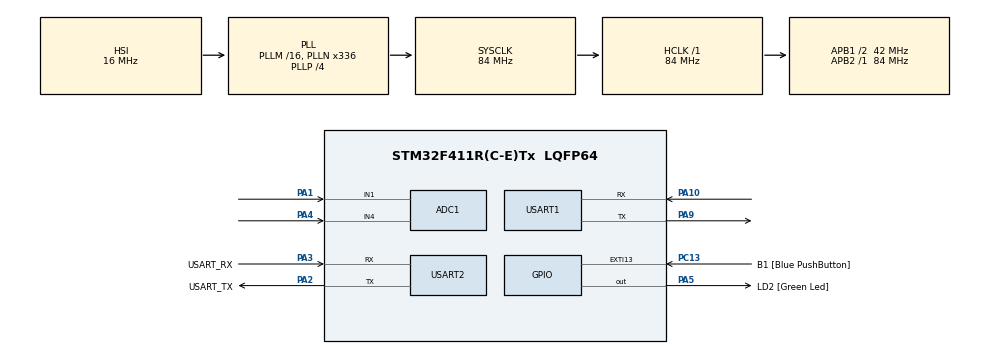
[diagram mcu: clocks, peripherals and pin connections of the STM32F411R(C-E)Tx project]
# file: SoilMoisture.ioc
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ADC1.Channel-5\#ChannelRegularConversion=ADC_CHANNEL_1
ADC1.NbrOfConversionFlag=1
ADC1.Rank-5\#ChannelRegularConversion=1
ADC1.SamplingTime-5\#ChannelRegularConversion=ADC_SAMPLETIME_3CYCLES
ADC1.master=1
Mcu.Family=STM32F4
Mcu.Name=STM32F411R(C-E)Tx
Mcu.Package=LQFP64
NVIC.PriorityGroup=NVIC_PRIORITYGROUP_0
PA1.Signal=ADCx_IN1
PA10.Mode=Asynchronous
PA10.Signal=USART1_RX
PA13.GPIO_Label=TMS
PA13.Mode=Serial_Wire
PA13.Signal=SYS_JTMS-SWDIO
PA14.GPIO_Label=TCK
PA14.Mode=Serial_Wire
PA14.Signal=SYS_JTCK-SWCLK
PA2.GPIO_Label=USART_TX
PA2.Mode=Asynchronous
PA2.Signal=USART2_TX
PA3.GPIO_Label=USART_RX
PA3.Mode=Asynchronous
PA3.Signal=USART2_RX
PA4.Signal=ADCx_IN4
PA5.GPIO_Label=LD2 [Green Led]
PA5.Signal=GPIO_Output
PA9.Mode=Asynchronous
PA9.Signal=USART1_TX
PB3.GPIO_Label=SWO
PB3.Signal=SYS_JTDO-SWO
PC13-ANTI_TAMP.GPIO_Label=B1 [Blue PushButton]
PC13-ANTI_TAMP.GPIO_ModeDefaultEXTI=GPIO_MODE_IT_FALLING
PC13-ANTI_TAMP.Signal=GPXTI13
PC14-OSC32_IN.Mode=LSE-External-Oscillator
PC14-OSC32_IN.Signal=RCC_OSC32_IN
PC15-OSC32_OUT.Mode=LSE-External-Oscillator
PC15-OSC32_OUT.Signal=RCC_OSC32_OUT
PH0\ -\ OSC_IN.Mode=HSE-External-Clock-Source
PH0\ -\ OSC_IN.Signal=RCC_OSC_IN
PH1\ -\ OSC_OUT.Mode=HSE-External-Clock-Source
PH1\ -\ OSC_OUT.Signal=RCC_OSC_OUT
ProjectManager.HeapSize=0x200
ProjectManager.StackSize=0x400
ProjectManager.TargetToolchain=STM32CubeIDE
RCC.48MHZClocksFreq_Value=84000000
RCC.AHBFreq_Value=84000000
RCC.APB1CLKDivider=RCC_HCLK_DIV2
RCC.APB1Freq_Value=42000000
RCC.APB1TimFreq_Value=84000000
RCC.APB2Freq_Value=84000000
RCC.APB2TimFreq_Value=84000000
RCC.CortexFreq_Value=84000000
RCC.FLatency-AdvancedSettings=FLASH_LATENCY_2
RCC.HCLKFreq_Value=84000000
RCC.HSE_VALUE=8000000
RCC.HSI_VALUE=16000000
RCC.PLLN=336
RCC.PLLP=RCC_PLLP_DIV4
RCC.SYSCLKFreq_VALUE=84000000
RCC.SYSCLKSource=RCC_SYSCLKSOURCE_PLLCLK
RCC.VCOOutputFreq_Value=336000000
SH.ADCx_IN1.0=ADC1_IN1,IN1
SH.ADCx_IN4.0=ADC1_IN4,IN4
TIM1.Prescaler=84-1
USART1.VirtualMode=VM_ASYNC
USART2.VirtualMode=VM_ASYNC
VP_TIM1_VS_ClockSourceINT.Mode=Internal
board=NUCLEO-F411RE

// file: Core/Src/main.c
/* USER CODE BEGIN Header */
/**
  ******************************************************************************
  * @file           : main.c
  * @brief          : Main program body
  ******************************************************************************
  * @attention
  *
  * Copyright (c) 2022 STMicroelectronics.
  * All rights reserved.
  *
  * This software is licensed under terms that can be found in the LICENSE file
  * in the root directory of this software component.
  * If no LICENSE file comes with this software, it is provided AS-IS.
  *
  ******************************************************************************
  */
/* USER CODE END Header */
#include "main.h"

ADC_HandleTypeDef hadc1;

TIM_HandleTypeDef htim1;

UART_HandleTypeDef huart1;
UART_HandleTypeDef huart2;

void SystemClock_Config(void);
static void MX_GPIO_Init(void);
static void MX_USART2_UART_Init(void);
static void MX_ADC1_Init(void);
static void MX_TIM1_Init(void);
static void MX_USART1_UART_Init(void);

/* USER CODE BEGIN 0 */
uint8_t h_byte1, h_byte2, t_byte1, t_byte2;
uint16_t sum,h,t;
float temp;
float humid;
uint8_t pres = 0;
#define DHT11_PORT GPIOA
#define DHT11_PIN GPIO_PIN_0

void delay(uint16_t time){
	__HAL_TIM_SET_COUNTER(&htim1,0);
	while(__HAL_TIM_GET_COUNTER(&htim1) < time);
}

void Set_Pin_Output(GPIO_TypeDef *GPIOx, uint16_t GPIO_Pin){
	GPIO_InitTypeDef GPIO_InitStruct = {0};
	GPIO_InitStruct.Pin = GPIO_Pin;
	GPIO_InitStruct.Mode = GPIO_MODE_OUTPUT_PP;
	GPIO_InitStruct.Speed = GPIO_SPEED_FREQ_LOW;
	HAL_GPIO_Init(GPIOx, &GPIO_InitStruct);
}

void Set_Pin_Input (GPIO_TypeDef *GPIOx, uint16_t GPIO_Pin){
	GPIO_InitTypeDef GPIO_InitStruct = {0};
	GPIO_InitStruct.Pin = GPIO_Pin;
	GPIO_InitStruct.Mode = GPIO_MODE_INPUT;
	GPIO_InitStruct.Pull = GPIO_PULLUP;
	HAL_GPIO_Init(GPIOx, &GPIO_InitStruct);
}

void DHT11_Start (void)
{
	Set_Pin_Output (DHT11_PORT, DHT11_PIN);  // set the pin as output
	HAL_GPIO_WritePin (DHT11_PORT, DHT11_PIN, 0);   // pull the pin low
	delay (18000);   // wait for 18ms
	Set_Pin_Input(DHT11_PORT, DHT11_PIN);    // set as input
}

uint8_t Check_Response (void)
{
	uint8_t Response = 0;
	delay (40);
	if (!(HAL_GPIO_ReadPin (DHT11_PORT, DHT11_PIN)))
	{
		delay (80);
		if ((HAL_GPIO_ReadPin (DHT11_PORT, DHT11_PIN))) Response = 1;
		else Response = -1;
	}
	while ((HAL_GPIO_ReadPin (DHT11_PORT, DHT11_PIN)));   // wait for the pin to go low

	return Response;
}

uint8_t DHT11_Read (void)
{
	uint8_t i,j;
	for (j=0;j<8;j++)
	{
		while (!(HAL_GPIO_ReadPin (DHT11_PORT, DHT11_PIN)));   // wait for the pin to go high
		delay (40);   // wait for 40 us
		if (!(HAL_GPIO_ReadPin (DHT11_PORT, DHT11_PIN)))   // if the pin is low
		{
			i&= ~(1<<(7-j));   // write 0
		}
		else i|= (1<<(7-j));  // if the pin is high, write 1
		while ((HAL_GPIO_ReadPin (DHT11_PORT, DHT11_PIN)));  // wait for the pin to go low
	}
	return i;
}
/* USER CODE END 0 */

int main(void)
{

  /* MCU Configuration--------------------------------------------------------*/

  /* Reset of all peripherals, Initializes the Flash interface and the Systick. */
  HAL_Init();

  /* Configure the system clock */
  SystemClock_Config();

  /* Initialize all configured peripherals */
  MX_GPIO_Init();
  MX_USART2_UART_Init();
  MX_ADC1_Init();
  MX_TIM1_Init();
  MX_USART1_UART_Init();
  /* USER CODE BEGIN 2 */
  uint64_t ADCValue;
  float ADCpercent;
  HAL_TIM_Base_Start_IT(&htim1);
  /* USER CODE END 2 */

  /* Infinite loop */
  while (1)
  {

    /* USER CODE BEGIN 3 */
	  char buffer[90];
	  HAL_ADC_Start(&hadc1);

	  if (HAL_ADC_PollForConversion(&hadc1, 1000000) == HAL_OK)
	      {
	          ADCValue = HAL_ADC_GetValue(&hadc1);

	          ADCpercent = 0.02528;
	          ADCpercent = -(float)(ADCValue)*ADCpercent+112.4;
			  /*sprintf(buffer, "%d \r\n", ADCValue);
			  sprintf(buffer, "%.1f \r\n", ADCpercent);*/
		   }

	  	  DHT11_Start(); // ok
	  	  pres = Check_Response();
	  	  h_byte1 = DHT11_Read(); // problem infiite loop
	  	  h_byte2 = DHT11_Read();
	  	  t_byte1 = DHT11_Read();
	  	  t_byte2 = DHT11_Read();
	  	  sum = DHT11_Read();

	  	  temp = t_byte1;
	  	  humid = h_byte1;

	  	  // LDR
	  	//HAL_ADC_Start(&hadc1);
	  	 int adcval = 0;
	  	 if(HAL_ADC_PollForConversion(&hadc1,1000)==HAL_OK){
	  		 adcval = HAL_ADC_GetValue(&hadc1);
	  	 }

	  	  sprintf(buffer, "soi : %.1f temp : %.1f humid : %.1f  light : %.1f \r\n ",ADCpercent,temp,humid,adcval);
	  	  HAL_UART_Transmit(&huart2, &buffer, strlen(buffer), HAL_MAX_DELAY);
	  	  HAL_UART_Transmit(&huart1, &buffer, strlen(buffer), HAL_MAX_DELAY);
	  	  HAL_Delay(1000);

  }
  /* USER CODE END 3 */
}

void SystemClock_Config(void)
{
  RCC_OscInitTypeDef RCC_OscInitStruct = {0};
  RCC_ClkInitTypeDef RCC_ClkInitStruct = {0};

  /** Configure the main internal regulator output voltage
  */
  __HAL_RCC_PWR_CLK_ENABLE();
  __HAL_PWR_VOLTAGESCALING_CONFIG(PWR_REGULATOR_VOLTAGE_SCALE1);
  /** Initializes the RCC Oscillators according to the specified parameters
  * in the RCC_OscInitTypeDef structure.
  */
  RCC_OscInitStruct.OscillatorType = RCC_OSCILLATORTYPE_HSI;
  RCC_OscInitStruct.HSIState = RCC_HSI_ON;
  RCC_OscInitStruct.HSICalibrationValue = RCC_HSICALIBRATION_DEFAULT;
  RCC_OscInitStruct.PLL.PLLState = RCC_PLL_ON;
  RCC_OscInitStruct.PLL.PLLSource = RCC_PLLSOURCE_HSI;
  RCC_OscInitStruct.PLL.PLLM = 16;
  RCC_OscInitStruct.PLL.PLLN = 336;
  RCC_OscInitStruct.PLL.PLLP = RCC_PLLP_DIV4;
  RCC_OscInitStruct.PLL.PLLQ = 4;
  if (HAL_RCC_OscConfig(&RCC_OscInitStruct) != HAL_OK)
  {
    Error_Handler();
  }
  /** Initializes the CPU, AHB and APB buses clocks
  */
  RCC_ClkInitStruct.ClockType = RCC_CLOCKTYPE_HCLK|RCC_CLOCKTYPE_SYSCLK
                              |RCC_CLOCKTYPE_PCLK1|RCC_CLOCKTYPE_PCLK2;
  RCC_ClkInitStruct.SYSCLKSource = RCC_SYSCLKSOURCE_PLLCLK;
  RCC_ClkInitStruct.AHBCLKDivider = RCC_SYSCLK_DIV1;
  RCC_ClkInitStruct.APB1CLKDivider = RCC_HCLK_DIV2;
  RCC_ClkInitStruct.APB2CLKDivider = RCC_HCLK_DIV1;

  if (HAL_RCC_ClockConfig(&RCC_ClkInitStruct, FLASH_LATENCY_2) != HAL_OK)
  {
    Error_Handler();
  }
}

static void MX_ADC1_Init(void)
{

  ADC_ChannelConfTypeDef sConfig = {0};

  /** Configure the global features of the ADC (Clock, Resolution, Data Alignment and number of conversion)
  */
  hadc1.Instance = ADC1;
  hadc1.Init.ClockPrescaler = ADC_CLOCK_SYNC_PCLK_DIV4;
  hadc1.Init.Resolution = ADC_RESOLUTION_12B;
  hadc1.Init.ScanConvMode = DISABLE;
  hadc1.Init.ContinuousConvMode = DISABLE;
  hadc1.Init.DiscontinuousConvMode = DISABLE;
  hadc1.Init.ExternalTrigConvEdge = ADC_EXTERNALTRIGCONVEDGE_NONE;
  hadc1.Init.ExternalTrigConv = ADC_SOFTWARE_START;
  hadc1.Init.DataAlign = ADC_DATAALIGN_RIGHT;
  hadc1.Init.NbrOfConversion = 1;
  hadc1.Init.DMAContinuousRequests = DISABLE;
  hadc1.Init.EOCSelection = ADC_EOC_SINGLE_CONV;
  if (HAL_ADC_Init(&hadc1) != HAL_OK)
  {
    Error_Handler();
  }
  /** Configure for the selected ADC regular channel its corresponding rank in the sequencer and its sample time.
  */
  sConfig.Channel = ADC_CHANNEL_1;
  sConfig.Rank = 1;
  sConfig.SamplingTime = ADC_SAMPLETIME_3CYCLES;
  if (HAL_ADC_ConfigChannel(&hadc1, &sConfig) != HAL_OK)
  {
    Error_Handler();
  }

}

static void MX_TIM1_Init(void)
{

  TIM_ClockConfigTypeDef sClockSourceConfig = {0};
  TIM_MasterConfigTypeDef sMasterConfig = {0};

  htim1.Instance = TIM1;
  htim1.Init.Prescaler = 84-1;
  htim1.Init.CounterMode = TIM_COUNTERMODE_UP;
  htim1.Init.Period = 65535;
  htim1.Init.ClockDivision = TIM_CLOCKDIVISION_DIV1;
  htim1.Init.RepetitionCounter = 0;
  htim1.Init.AutoReloadPreload = TIM_AUTORELOAD_PRELOAD_DISABLE;
  if (HAL_TIM_Base_Init(&htim1) != HAL_OK)
  {
    Error_Handler();
  }
  sClockSourceConfig.ClockSource = TIM_CLOCKSOURCE_INTERNAL;
  if (HAL_TIM_ConfigClockSource(&htim1, &sClockSourceConfig) != HAL_OK)
  {
    Error_Handler();
  }
  sMasterConfig.MasterOutputTrigger = TIM_TRGO_RESET;
  sMasterConfig.MasterSlaveMode = TIM_MASTERSLAVEMODE_DISABLE;
  if (HAL_TIMEx_MasterConfigSynchronization(&htim1, &sMasterConfig) != HAL_OK)
  {
    Error_Handler();
  }

}

static void MX_USART1_UART_Init(void)
{

  huart1.Instance = USART1;
  huart1.Init.BaudRate = 115200;
  huart1.Init.WordLength = UART_WORDLENGTH_8B;
  huart1.Init.StopBits = UART_STOPBITS_1;
  huart1.Init.Parity = UART_PARITY_NONE;
  huart1.Init.Mode = UART_MODE_TX_RX;
  huart1.Init.HwFlowCtl = UART_HWCONTROL_NONE;
  huart1.Init.OverSampling = UART_OVERSAMPLING_16;
  if (HAL_UART_Init(&huart1) != HAL_OK)
  {
    Error_Handler();
  }

}

static void MX_USART2_UART_Init(void)
{

  huart2.Instance = USART2;
  huart2.Init.BaudRate = 115200;
  huart2.Init.WordLength = UART_WORDLENGTH_8B;
  huart2.Init.StopBits = UART_STOPBITS_1;
  huart2.Init.Parity = UART_PARITY_NONE;
  huart2.Init.Mode = UART_MODE_TX_RX;
  huart2.Init.HwFlowCtl = UART_HWCONTROL_NONE;
  huart2.Init.OverSampling = UART_OVERSAMPLING_16;
  if (HAL_UART_Init(&huart2) != HAL_OK)
  {
    Error_Handler();
  }

}

static void MX_GPIO_Init(void)
{
  GPIO_InitTypeDef GPIO_InitStruct = {0};

  /* GPIO Ports Clock Enable */
  __HAL_RCC_GPIOC_CLK_ENABLE();
  __HAL_RCC_GPIOH_CLK_ENABLE();
  __HAL_RCC_GPIOA_CLK_ENABLE();
  __HAL_RCC_GPIOB_CLK_ENABLE();

  /*Configure GPIO pin Output Level */
  HAL_GPIO_WritePin(LD2_GPIO_Port, LD2_Pin, GPIO_PIN_RESET);

  /*Configure GPIO pin : B1_Pin */
  GPIO_InitStruct.Pin = B1_Pin;
  GPIO_InitStruct.Mode = GPIO_MODE_IT_FALLING;
  GPIO_InitStruct.Pull = GPIO_NOPULL;
  HAL_GPIO_Init(B1_GPIO_Port, &GPIO_InitStruct);

  /*Configure GPIO pin : LD2_Pin */
  GPIO_InitStruct.Pin = LD2_Pin;
  GPIO_InitStruct.Mode = GPIO_MODE_OUTPUT_PP;
  GPIO_InitStruct.Pull = GPIO_NOPULL;
  GPIO_InitStruct.Speed = GPIO_SPEED_FREQ_LOW;
  HAL_GPIO_Init(LD2_GPIO_Port, &GPIO_InitStruct);

}

void Error_Handler(void)
{
  __disable_irq();
  while (1)
  {
  }
}
